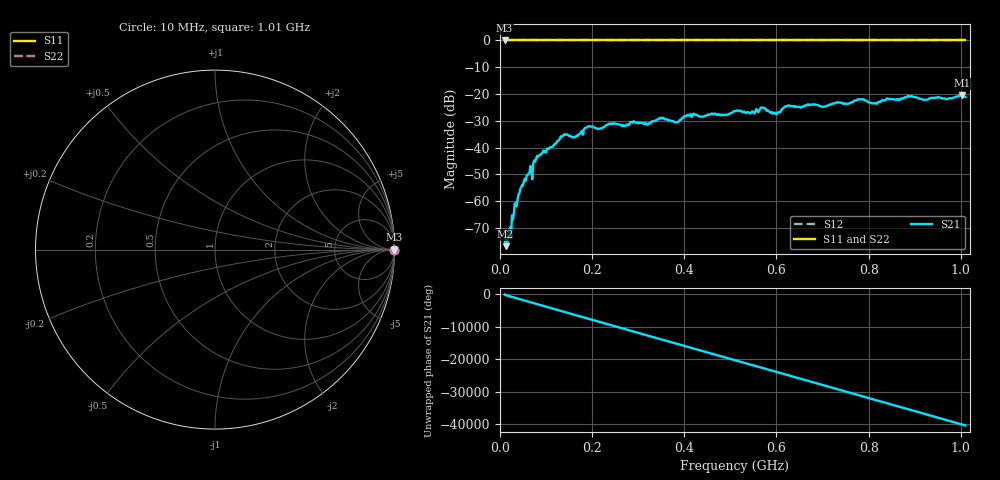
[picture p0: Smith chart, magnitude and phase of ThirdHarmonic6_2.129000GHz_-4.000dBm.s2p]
! 8/17/2025 1:26:26 AM
! C:\ANRITSUVNA\TEMP\TEMP.S2P
! CHANNEL.1
! TR.MEASUREMENT
! RAW.DATA
! RF.CORRECTION.OFF
! AVERAGING.OFF
! IF.BANDWIDTH: 5KHZ
! SWEEPTYPE:  FREQ.SWEEP(Linear)
! Reference Plane Port Info
! PORT:  PORT1  PORT2
! DISTANCE:  0  m  0  m
! TIME:  0  s  0  s
! PHASE.OFFSET:  0  deg.  0  deg.
! LOSS:  0  dB  0  dB
! REF.LOSS:  0  dB  0  dB
! REF.FREQ:  0  Hz  0  Hz
! Power Info
! POWER:  -20  dBm  -20  dBm
! EFF.POWER:  -20  dBm  -20  dBm
! SOURCE.ATTEN:  0  dB  0  dB
! TEST.ATTEN:  0  dB  0  dB
# GHZ S RI R 50.0
! FREQ.GHZ  S11RE  S11IM  S21RE  S21IM  S12RE  S12IM  S22RE  S22IM
!; PortSelection: Port_12
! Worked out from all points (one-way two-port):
!   501 points, 10 MHz to 1.01 GHz, reference 50 ohm
!   highest |S21| = -20.43 dB at 1.002 GHz (marker M1); lowest = -76.8 dB at 12 MHz (marker M2)
!   lowest |S11| = 0.0 dB at 10 MHz (marker M3)
!   |S11| at or under -10 dB: nowhere
!   |S22| runs from 0.0 to 0.0 dB; largest |S21 - S12| = 1.1
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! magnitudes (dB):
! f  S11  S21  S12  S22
! 10 MHz  0.0  -74.2  0.0  0.0
! 12 MHz  0.0  -76.8  0.0  0.0
! 20 MHz  0.0  -71.7  0.0  0.0
! 30 MHz  0.0  -64.8  0.0  0.0
! 44 MHz  0.0  -55.5  0.0  0.0
! 76 MHz  0.0  -45.3  0.0  0.0
! 136 MHz  0.0  -35.7  0.0  0.0
! 160 MHz  0.0  -36.2  0.0  0.0
! 178 MHz  0.0  -33.7  0.0  0.0
! 194 MHz  0.0  -32.0  0.0  0.0
! 322 MHz  0.0  -31.0  0.0  0.0
! 344 MHz  0.0  -29.4  0.0  0.0
! 382 MHz  0.0  -30.5  0.0  0.0
! 410 MHz  0.0  -28.1  0.0  0.0
! 510 MHz  0.0  -26.4  0.0  0.0
! 570 MHz  0.0  -25.1  0.0  0.0
! 596 MHz  0.0  -27.0  0.0  0.0
! 624 MHz  0.0  -24.4  0.0  0.0
! 678 MHz  0.0  -23.9  0.0  0.0
! 844 MHz  0.0  -21.9  0.0  0.0
! 1.002 GHz  0.0  -20.4  0.0  0.0
! 1.01 GHz  0.0  -21.1  0.0  0.0
